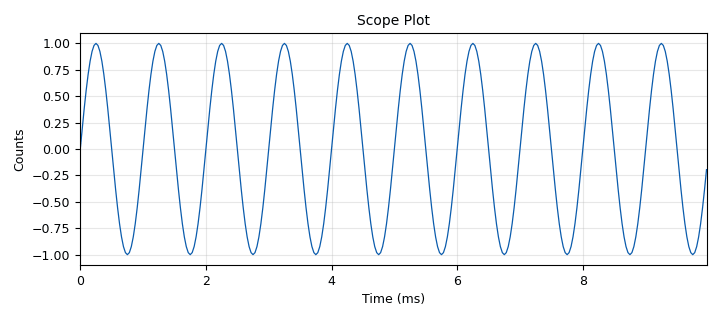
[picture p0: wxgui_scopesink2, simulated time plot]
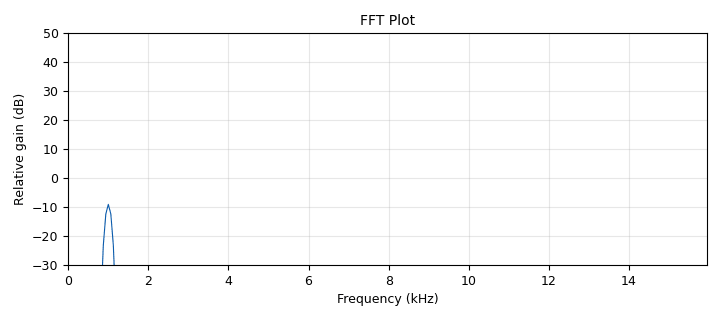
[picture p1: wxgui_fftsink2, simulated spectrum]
<?xml version='1.0' encoding='utf-8'?>
<flow_graph>
<block>
<key>options</key>
<param><key>id</key><value>server_block</value></param>
<param><key>title</key><value>XMLRPC Server</value></param>
<param><key>author</key><value>Example</value></param>
<param><key>description</key><value>example flow graph</value></param>
<param><key>generate_options</key><value>wx_gui</value></param>
<param><key>category</key><value>Custom</value></param>
</block>
<block>
<key>variable</key>
<param><key>id</key><value>offset</value></param>
<param><key>value</key><value>0</value></param>
</block>
<block>
<key>xmlrpc_server</key>
<param><key>id</key><value>xmlrpc_server</value></param>
<param><key>addr</key><value>localhost</value></param>
<param><key>port</key><value>1234</value></param>
</block>
<block>
<key>wxgui_scopesink2</key>
<param><key>id</key><value>wxgui_scopesink2</value></param>
<param><key>type</key><value>float</value></param>
<param><key>title</key><value>Scope Plot</value></param>
<param><key>samp_rate</key><value>samp_rate</value></param>
<param><key>v_scale</key><value>0</value></param>
<param><key>v_offset</key><value>0</value></param>
<param><key>t_scale</key><value>.001</value></param>
<param><key>ac_couple</key><value>False</value></param>
<param><key>xy_mode</key><value>False</value></param>
<param><key>num_inputs</key><value>1</value></param>
<param><key>grid_pos</key><value>0, 0, 2, 4</value></param>
<param><key>trig_mode</key><value>gr.gr_TRIG_MODE_AUTO</value></param>
<param><key>y_axis_label</key><value>Counts</value></param>
</block>
<block>
<key>wxgui_fftsink2</key>
<param><key>id</key><value>wxgui_fftsink2</value></param>
<param><key>type</key><value>float</value></param>
<param><key>title</key><value>FFT Plot</value></param>
<param><key>samp_rate</key><value>samp_rate</value></param>
<param><key>baseband_freq</key><value>0</value></param>
<param><key>y_per_div</key><value>10</value></param>
<param><key>y_divs</key><value>8</value></param>
<param><key>ref_level</key><value>50</value></param>
<param><key>ref_scale</key><value>2.0</value></param>
<param><key>fft_size</key><value>512</value></param>
<param><key>fft_rate</key><value>15</value></param>
<param><key>peak_hold</key><value>False</value></param>
<param><key>average</key><value>False</value></param>
<param><key>avg_alpha</key><value>0</value></param>
<param><key>win</key><value>None</value></param>
<param><key>grid_pos</key><value>2, 0, 2, 4</value></param>
<param><key>freqvar</key><value>None</value></param>
</block>
<block>
<key>variable</key>
<param><key>id</key><value>samp_rate</value></param>
<param><key>value</key><value>32000</value></param>
</block>
<block>
<key>variable</key>
<param><key>id</key><value>freq</value></param>
<param><key>value</key><value>1000</value></param>
</block>
<block>
<key>variable</key>
<param><key>id</key><value>ampl</value></param>
<param><key>value</key><value>1</value></param>
</block>
<block>
<key>gr_throttle</key>
<param><key>id</key><value>gr_throttle</value></param>
<param><key>type</key><value>float</value></param>
<param><key>samples_per_second</key><value>samp_rate</value></param>
<param><key>vlen</key><value>1</value></param>
</block>
<block>
<key>analog_sig_source_x</key>
<param><key>id</key><value>analog_sig_source_x_0</value></param>
<param><key>type</key><value>float</value></param>
<param><key>samp_rate</key><value>samp_rate</value></param>
<param><key>waveform</key><value>analog.GR_COS_WAVE</value></param>
<param><key>freq</key><value>freq</value></param>
<param><key>amp</key><value>ampl</value></param>
<param><key>offset</key><value>offset</value></param>
</block>
<connection><source_block_id>gr_throttle</source_block_id><sink_block_id>wxgui_scopesink2</sink_block_id><source_key>0</source_key><sink_key>0</sink_key></connection>
<connection><source_block_id>gr_throttle</source_block_id><sink_block_id>wxgui_fftsink2</sink_block_id><source_key>0</source_key><sink_key>0</sink_key></connection>
<connection><source_block_id>analog_sig_source_x_0</source_block_id><sink_block_id>gr_throttle</sink_block_id><source_key>0</source_key><sink_key>0</sink_key></connection>
</flow_graph>
